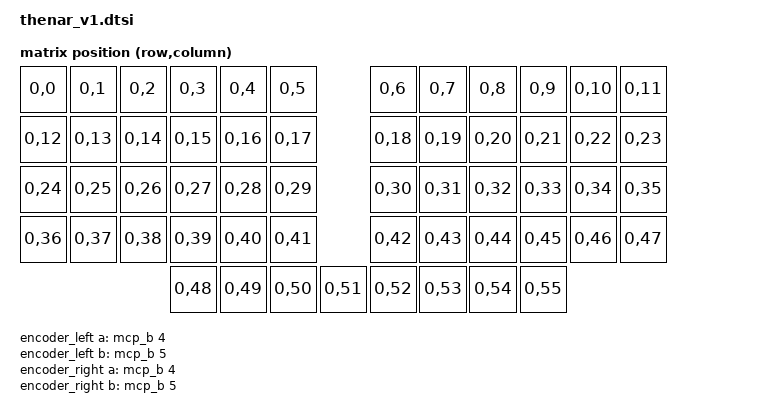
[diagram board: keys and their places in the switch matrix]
// SPDX-License-Identifier: MIT
//
// Common DT fragment for both halves of Thenar v1.
//
// Switch topology (per half, switch-per-pin, no diodes):
//
//   MCP_A bank (16 switches): num row (6) + top row (6) + first 4 of home row
//   MCP_B bank (16 switches): rest of home (2) + bottom row (6) + mod (2)
//                             + thumbs (2) + scrollwheel button (1) + 3 spares
//
// Each switch is wired one-to-one to a single MCP23017 GPIO pin. Internal
// pull-ups are enabled via the kscan binding so each switch shorts the
// pin to GND when pressed.

#include <dt-bindings/zmk/matrix_transform.h>
#include "thenar_v1-layouts.dtsi"

/ {
    chosen {
        zmk,physical-layout = &physical_layout0;
        zmk,kscan = &kscan_direct;
    };

    // Linear position numbering for the keymap. With switch-per-pin we
    // skip the matrix abstraction entirely - each kscan input maps to a
    // single keymap position. ZMK position numbers go left-to-right,
    // top-to-bottom across BOTH halves; on the right half the same
    // transform is reused but the shield's per-half overlay reorders the
    // input-gpios list so the wiring still lines up.
    default_transform: keymap_transform_0 {
        compatible = "zmk,kscan-transform";
        rows = <1>;
        columns = <56>;
        map = <
RC(0,0)  RC(0,1)  RC(0,2)  RC(0,3)  RC(0,4)  RC(0,5)            RC(0,6)  RC(0,7)  RC(0,8)  RC(0,9)  RC(0,10) RC(0,11)
RC(0,12) RC(0,13) RC(0,14) RC(0,15) RC(0,16) RC(0,17)           RC(0,18) RC(0,19) RC(0,20) RC(0,21) RC(0,22) RC(0,23)
RC(0,24) RC(0,25) RC(0,26) RC(0,27) RC(0,28) RC(0,29)           RC(0,30) RC(0,31) RC(0,32) RC(0,33) RC(0,34) RC(0,35)
RC(0,36) RC(0,37) RC(0,38) RC(0,39) RC(0,40) RC(0,41)           RC(0,42) RC(0,43) RC(0,44) RC(0,45) RC(0,46) RC(0,47)
                              RC(0,48) RC(0,49) RC(0,50) RC(0,51) RC(0,52) RC(0,53) RC(0,54) RC(0,55)
        >;
    };

    // EVQWGD001 scrollwheel-mounted encoder. Both halves can mount one;
    // shield overlay enables whichever side has it physically installed.
    encoder_left: encoder_left {
        compatible = "alps,ec11";
        a-gpios = <&mcp_b 4 (GPIO_ACTIVE_HIGH | GPIO_PULL_UP)>;
        b-gpios = <&mcp_b 5 (GPIO_ACTIVE_HIGH | GPIO_PULL_UP)>;
        steps = <30>;
        status = "disabled";
    };

    encoder_right: encoder_right {
        compatible = "alps,ec11";
        a-gpios = <&mcp_b 4 (GPIO_ACTIVE_HIGH | GPIO_PULL_UP)>;
        b-gpios = <&mcp_b 5 (GPIO_ACTIVE_HIGH | GPIO_PULL_UP)>;
        steps = <30>;
        status = "disabled";
    };

    sensors: sensors {
        compatible = "zmk,keymap-sensors";
        sensors = <&encoder_left &encoder_right>;
        triggers-per-rotation = <15>;
    };
};

// Single direct-mode kscan placeholder. The per-half overlay sets
// input-gpios to the actual list of 28 MCP23017 pin handles ordered by
// the keymap position those switches map to.
/ {
    kscan_direct: kscan_direct {
        compatible = "zmk,kscan-gpio-direct";
        wakeup-source;
        debounce-press-ms = <5>;
        debounce-release-ms = <5>;
        // input-gpios is populated by thenar_v1_{left,right}.overlay.
    };
};
